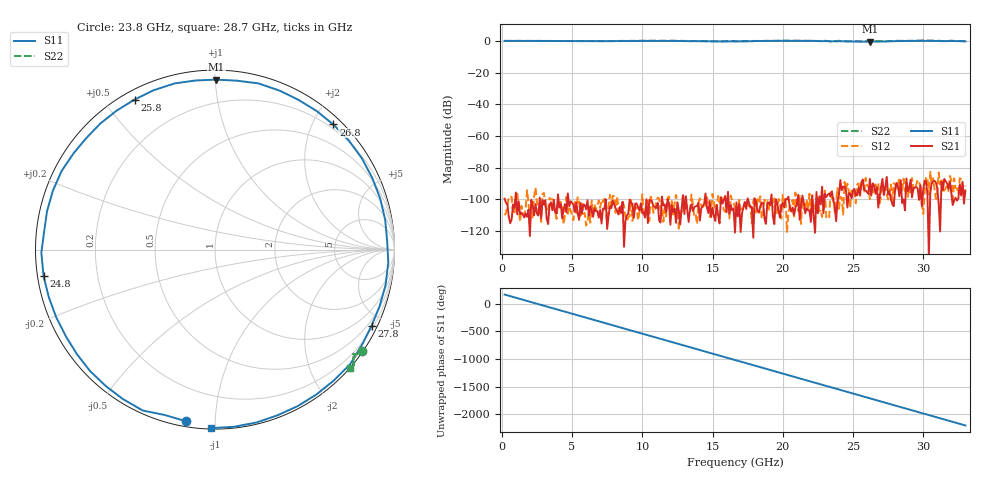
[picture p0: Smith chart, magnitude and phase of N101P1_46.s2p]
# GHZ S RI R 50
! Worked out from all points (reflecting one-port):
!   329 points, 200 MHz to 33 GHz, reference 50 ohm
!   lowest |S11| = -0.5 dB at 26.2 GHz (marker M1), VSWR 36.77, Z = 2.74 + j50.3 ohm
!   phase of S11 starts at 165 deg and turns -2370 deg over the sweep
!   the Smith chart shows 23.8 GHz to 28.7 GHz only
!   S11 on the Smith chart (normalised r, x): 23.8 GHz: 0.03, -0.84; 24.8 GHz: 0.02, -0.08; 25.8 GHz: 0.04, +0.60; 26.8 GHz: 0.13, +2.32; 27.8 GHz: 0.30, -4.33; 28.7 GHz: 0.01, -0.98
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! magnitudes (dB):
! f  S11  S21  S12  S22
! 200 MHz  0.0  -99.7  -110.1  0.0
! 5.7 GHz  -0.2  -109.2  -101.6  -0.1
! 11.2 GHz  0.0  -113.5  -99.6  0.1
! 16.6 GHz  -0.3  -121.1  -105.1  -0.2
! 20.4 GHz  0.1  -98.5  -108.6  0.1
! 22.1 GHz  0.0  -98.0  -97.4  0.1
! 22.6 GHz  -0.2  -98.2  -107.8  -0.1
! 23 GHz  -0.1  -96.5  -94.6  0.1
! 23.4 GHz  -0.3  -98.3  -95.6  -0.3
! 23.8 GHz  -0.3  -113.9  -100.9  0.0
! 24 GHz  -0.2  -97.5  -106.1  0.1
! 24.8 GHz  -0.3  -96.4  -105.6  -0.2
! 25.8 GHz  -0.5  -94.3  -95.9  -0.3
! 26.2 GHz  -0.5  -87.2  -100.0  -0.2
! 26.8 GHz  -0.4  -105.3  -89.9  -0.2
! 27.6 GHz  -0.3  -95.2  -94.9  -0.1
! 27.8 GHz  -0.3  -102.7  -103.3  -0.1
! 28.7 GHz  0.0  -107.0  -95.0  0.0
! 30.4 GHz  0.1  -136.6  -97.0  0.3
! 31.4 GHz  -0.2  -94.2  -94.6  -0.1
! 32 GHz  0.0  -96.3  -88.1  0.1
! 33 GHz  -0.3  -94.6  -91.4  -0.1
